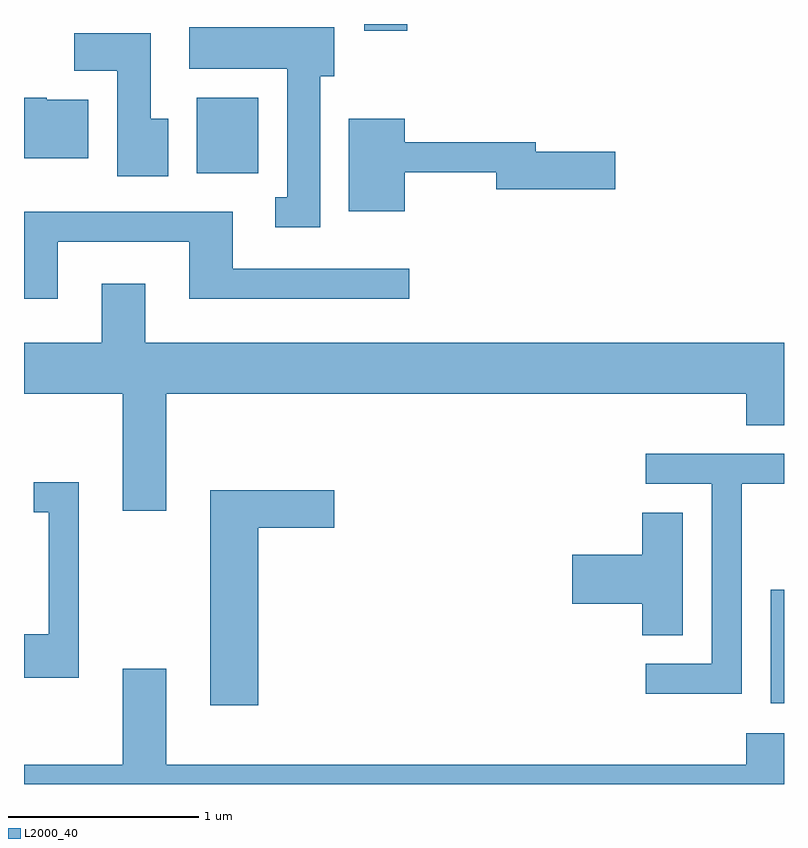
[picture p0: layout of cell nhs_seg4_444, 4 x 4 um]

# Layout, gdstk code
import gdstk
lib = gdstk.Library(unit=1e-6, precision=1e-09)
def R(c, l, rs):  # rectangles x0, y0, x1, y1
    for r in rs: c.add(gdstk.rectangle(r[:2], r[2:], *l))
def P(c, l, *ps):  # polygons
    for p in ps: c.add(gdstk.Polygon(p, *l))
L2000_40 = (2000, 40)

nhs_seg4_444 = lib.new_cell('nhs_seg4_444')
R(nhs_seg4_444, L2000_40, [(201.541,1326.406,201.611,1327.004), (198.521,1329.196,198.844,1329.594), (199.401,1329.946,199.629,1329.982)])
P(nhs_seg4_444, L2000_40, [(199.169,1329.706),(199.244,1329.706),(199.244,1329.964),(198.481,1329.964),(198.481,1329.746),(198.996,1329.746),(198.996,1329.069),(198.933,1329.069),(198.933,1328.911),(199.169,1328.911)],
  [(198.369,1329.484),(198.279,1329.484),(198.279,1329.934),(197.876,1329.934),(197.876,1329.736),(198.101,1329.736),(198.101,1329.181),(198.369,1329.181)],
  [(197.949,1329.584),(197.73,1329.584),(197.73,1329.594),(197.611,1329.594),(197.611,1329.276),(197.949,1329.276)],
  [(199.614,1329.201),(200.096,1329.201),(200.096,1329.111),(200.724,1329.111),(200.724,1329.309),(200.304,1329.309),(200.304,1329.359),(199.614,1329.359),(199.614,1329.484),(199.321,1329.484),(199.321,1328.996),(199.614,1328.996)],
  [(197.789,1328.836),(198.481,1328.836),(198.481,1328.536),(199.638,1328.536),(199.638,1328.694),(198.709,1328.694),(198.709,1328.994),(197.611,1328.994),(197.611,1328.536),(197.789,1328.536)],
  [(198.359,1328.036),(201.411,1328.036),(201.411,1327.871),(201.611,1327.871),(201.611,1328.304),(198.249,1328.304),(198.249,1328.614),(198.021,1328.614),(198.021,1328.304),(197.611,1328.304),(197.611,1328.036),(198.131,1328.036),(198.131,1327.421),(198.359,1327.421)],
  [(201.389,1327.561),(201.611,1327.561),(201.611,1327.719),(200.883,1327.719),(200.883,1327.561),(201.231,1327.561),(201.231,1326.614),(200.883,1326.614),(200.883,1326.456),(201.389,1326.456)],
  [(197.899,1327.569),(197.663,1327.569),(197.663,1327.411),(197.741,1327.411),(197.741,1326.769),(197.611,1326.769),(197.611,1326.541),(197.899,1326.541)],
  [(198.844,1327.331),(199.244,1327.331),(199.244,1327.529),(198.591,1327.529),(198.591,1326.396),(198.844,1326.396)],
  [(201.079,1327.409),(200.866,1327.409),(200.866,1327.189),(200.496,1327.189),(200.496,1326.931),(200.866,1326.931),(200.866,1326.766),(201.079,1326.766)],
  [(201.611,1326.249),(201.411,1326.249),(201.411,1326.084),(198.359,1326.084),(198.359,1326.589),(198.131,1326.589),(198.131,1326.084),(197.611,1326.084),(197.611,1325.982),(201.611,1325.982)])

lib.write_gds('nhs_seg4_444.gds')
